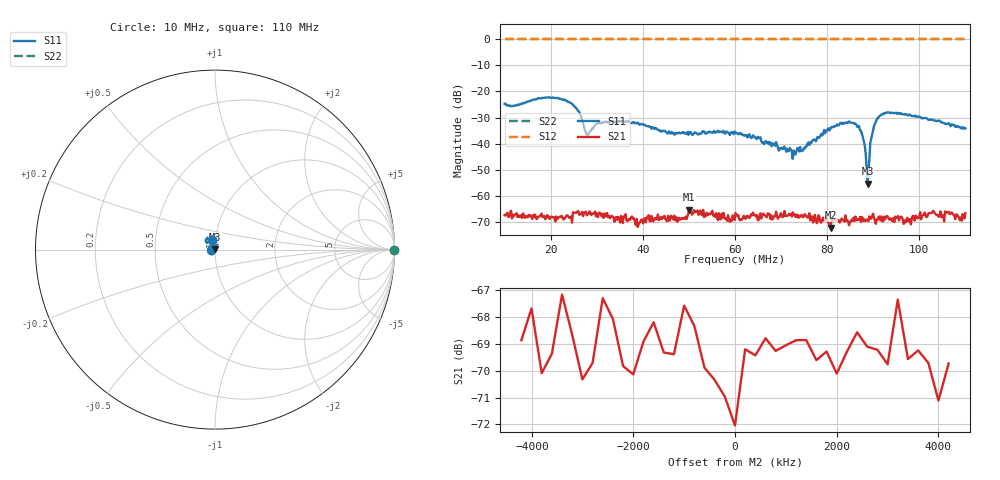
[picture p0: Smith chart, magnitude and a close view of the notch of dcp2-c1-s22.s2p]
! Anritsu VNA Master:  Model: MS2034B/10/19/501
! SN:  1337062
! /bd0/ovro-jan-2016/dcp2-c1-s22.s2p
! Existing Calibration Information:
! TYPE:  Current Settings,  Active Cal Settings
! TIME:  01/12/2016 06:11:43 PM,  01/12/2016 05:57:47 PM
! INTERNAL TEMP:  44.3 C,  46.0 C
! # POINTS:  500,  500
! START FREQ:  10.000 MHz,  10.000 MHz
! STOP FREQ:  110.000 MHz,  110.000 MHz
! SOURCE POWER:  Low,  Low
! IFBW:  100 Hz,  1 kHz
! AVG FACTOR:  3 ,  3
! REF PLANE 1:  0 mm,  0 mm
! REF PLANE 2:  0 mm,  0 mm
! CAL TYPE:  1P2P S11,S21,  1P2P S11,S21
! CAL METHOD:  SOLT,  SOLT
! CAL LINE TYPE:  Coax,  Coax
! DUT PORT 1:  K-Conn(M),  K-Conn(M)
! DUT PORT 2:  N-Conn(M),  N-Conn(M)
! CAL STATUS:  OK: Accuracy High,  --
# GHZ S DB R 50.0
! FREQ.GHZ  S11DB  S11A  S21DB  S21A  S12DB  S12A  S22DB  S22A
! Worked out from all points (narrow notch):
!   500 points, 10 MHz to 110 MHz, reference 50 ohm
!   highest |S21| = -65.17 dB at 50.08 MHz (marker M1); lowest = -72.0 dB at 80.74 MHz (marker M2)
!   notch at M2: 4.1 dB deep, 712 kHz wide at half that depth
!   lowest |S11| = -55.2 dB at 88.76 MHz (marker M3), VSWR 1.00, Z = 49.9 + j0.094 ohm
!   |S11| at or under -10 dB: start of sweep to end of sweep
!   |S22| runs from 0.0 to 0.0 dB; largest |S21 - S12| = 1
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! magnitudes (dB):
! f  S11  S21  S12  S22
! 10 MHz  -24.7  -67.3  0.0  0.0
! 21.62 MHz  -22.5  -68.3  0.0  0.0
! 24.83 MHz  -25.2  -66.2  0.0  0.0
! 26.83 MHz  -31.3  -66.0  0.0  0.0
! 28.04 MHz  -36.5  -66.8  0.0  0.0
! 33.25 MHz  -31.4  -67.5  0.0  0.0
! 38.86 MHz  -31.9  -71.8  0.0  0.0
! 43.47 MHz  -34.9  -69.2  0.0  0.0
! 47.88 MHz  -35.7  -68.3  0.0  0.0
! 50.08 MHz  -35.5  -65.2  0.0  0.0
! 60.1 MHz  -35.9  -66.4  0.0  0.0
! 72.73 MHz  -42.6  -66.7  0.0  0.0
! 76.73 MHz  -39.0  -67.7  0.0  0.0
! 80.74 MHz  -34.0  -72.0  0.0  0.0
! 86.55 MHz  -33.5  -68.9  0.0  0.0
! 87.76 MHz  -37.5  -68.6  0.0  0.0
! 88.76 MHz  -55.2  -69.2  0.0  0.0
! 89.16 MHz  -45.5  -67.7  0.0  0.0
! 89.76 MHz  -36.6  -67.6  0.0  0.0
! 90.56 MHz  -31.6  -70.6  0.0  0.0
! 93.37 MHz  -28.0  -68.6  0.0  0.0
! 110 MHz  -34.1  -66.5  0.0  0.0
